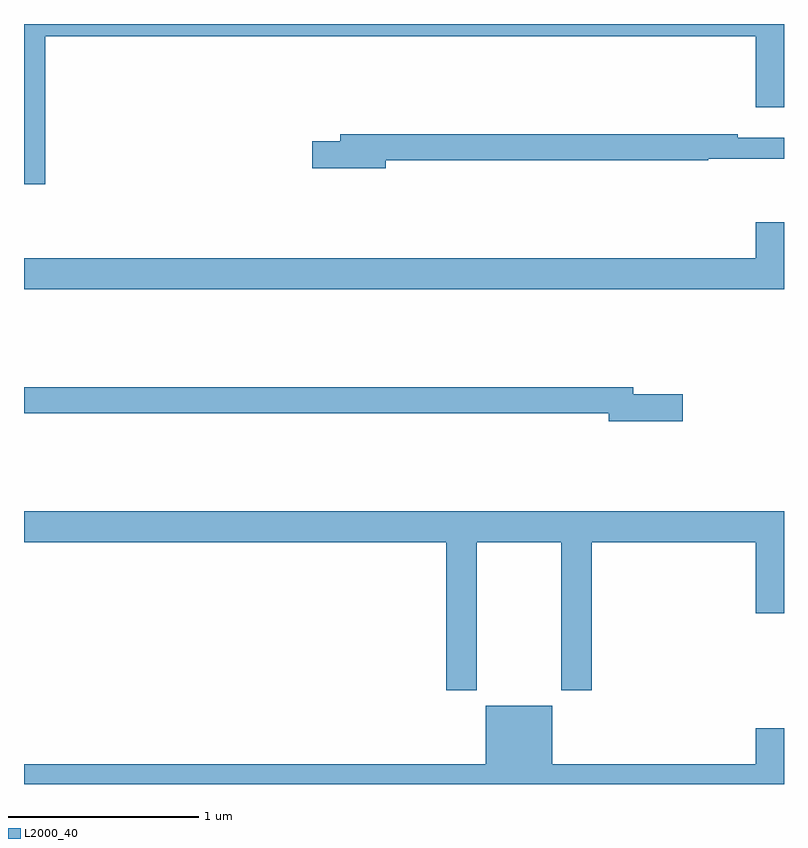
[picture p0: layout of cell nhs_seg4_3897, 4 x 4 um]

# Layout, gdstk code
import gdstk
lib = gdstk.Library(unit=1e-6, precision=1e-09)
def P(c, l, *ps):  # polygons
    for p in ps: c.add(gdstk.Polygon(p, *l))
L2000_40 = (2000, 40)

nhs_seg4_3897 = lib.new_cell('nhs_seg4_3897')
P(nhs_seg4_3897, L2000_40, [(317.111,780.836),(320.852,780.836),(320.852,780.462),(321,780.462),(321,780.9),(317,780.9),(317,780.057),(317.111,780.057)],
  [(318.904,780.184),(320.6,780.184),(320.6,780.192),(321,780.192),(321,780.301),(320.756,780.301),(320.756,780.32),(318.665,780.32),(318.665,780.284),(318.516,780.284),(318.516,780.142),(318.904,780.142)],
  [(321,779.857),(320.852,779.857),(320.852,779.668),(317,779.668),(317,779.504),(321,779.504)],
  [(320.467,778.952),(320.206,778.952),(320.206,778.988),(317,778.988),(317,778.852),(320.078,778.852),(320.078,778.81),(320.467,778.81)],
  [(319.383,778.172),(319.828,778.172),(319.828,777.393),(319.988,777.393),(319.988,778.172),(320.852,778.172),(320.852,777.798),(321,777.798),(321,778.336),(317,778.336),(317,778.172),(319.223,778.172),(319.223,777.393),(319.383,777.393)],
  [(321,777.193),(320.852,777.193),(320.852,777.004),(319.78,777.004),(319.78,777.313),(319.43,777.313),(319.43,777.004),(317,777.004),(317,776.9),(321,776.9)])

lib.write_gds('nhs_seg4_3897.gds')
